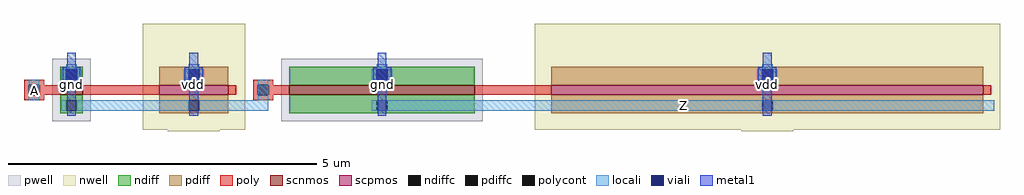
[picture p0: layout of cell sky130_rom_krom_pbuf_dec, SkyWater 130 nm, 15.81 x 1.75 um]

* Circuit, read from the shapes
.subckt sky130_rom_krom_pbuf_dec Z A vdd gnd
XM1 gnd A sky130_rom_krom_pinv_dec_1_0/A VSUBS sky130_fd_pr__nfet_01v8 w=0.36 l=0.15
XM2 gnd sky130_rom_krom_pinv_dec_1_0/A Z VSUBS sky130_fd_pr__nfet_01v8 w=3 l=0.15
XM3 vdd A sky130_rom_krom_pinv_dec_1_0/A n1 sky130_fd_pr__pfet_01v8 w=1.12 l=0.15
XM4 vdd sky130_rom_krom_pinv_dec_1_0/A Z n2 sky130_fd_pr__pfet_01v8 w=7 l=0.15
.ends

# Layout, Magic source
magic
tech sky130A
magscale 1 2
<< locali >>
rect 60 51 94 117
rect 802 51 836 101
rect 742 17 836 51
rect 1171 17 3188 51
<< metal1 >>
rect 184 0 212 204
rect 580 0 608 204
rect 1190 0 1218 204
rect 2438 0 2466 204
use sky130_rom_krom_pinv_dec_0  sky130_rom_krom_pinv_dec_0_0
transform 1 0 0 0 1 0
box 44 -50 760 299
use sky130_rom_krom_pinv_dec_1  sky130_rom_krom_pinv_dec_1_0
transform 1 0 742 0 1 0
box 44 -50 2464 299
<< labels >>
rlabel locali s 2179 34 2179 34 4 Z
port 2 nsew
rlabel locali s 77 84 77 84 4 A
port 3 nsew
rlabel metal1 s 2438 0 2466 204 4 vdd
port 5 nsew
rlabel metal1 s 580 0 608 204 4 vdd
port 5 nsew
rlabel metal1 s 184 0 212 204 4 gnd
port 7 nsew
rlabel metal1 s 1190 0 1218 204 4 gnd
port 7 nsew
<< properties >>
string FIXED_BBOX 0 0 3188 204
<< end >>

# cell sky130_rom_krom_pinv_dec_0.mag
magic
tech sky130A
magscale 1 2
<< nwell >>
rect 428 -45 760 299
rect 510 -50 678 -45
<< pwell >>
rect 136 -17 260 185
<< scnmos >>
rect 162 69 234 99
<< scpmos >>
rect 482 69 706 99
<< ndiff >>
rect 162 151 234 159
rect 162 117 181 151
rect 215 117 234 151
rect 162 99 234 117
rect 162 51 234 69
rect 162 17 181 51
rect 215 17 234 51
rect 162 9 234 17
<< pdiff >>
rect 482 151 706 159
rect 482 117 577 151
rect 611 117 706 151
rect 482 99 706 117
rect 482 51 706 69
rect 482 17 577 51
rect 611 17 706 51
rect 482 9 706 17
<< ndiffc >>
rect 181 117 215 151
rect 181 17 215 51
<< pdiffc >>
rect 577 117 611 151
rect 577 17 611 51
<< poly >>
rect 44 101 110 117
rect 44 67 60 101
rect 94 99 110 101
rect 94 69 162 99
rect 234 69 482 99
rect 706 69 732 99
rect 94 67 110 69
rect 44 51 110 67
<< polycont >>
rect 60 67 94 101
<< locali >>
rect 181 151 215 167
rect 577 151 611 167
rect 165 117 181 151
rect 215 117 231 151
rect 561 117 577 151
rect 611 117 627 151
rect 60 101 94 117
rect 181 101 215 117
rect 577 101 611 117
rect 60 51 94 67
rect 165 17 181 51
rect 215 17 577 51
rect 611 17 742 51
<< viali >>
rect 181 117 215 151
rect 577 117 611 151
<< metal1 >>
rect 184 157 212 204
rect 580 157 608 204
rect 169 151 227 157
rect 169 117 181 151
rect 215 117 227 151
rect 169 111 227 117
rect 565 151 623 157
rect 565 117 577 151
rect 611 117 623 151
rect 565 111 623 117
rect 184 0 212 111
rect 580 0 608 111
<< labels >>
rlabel locali s 77 84 77 84 4 A
port 2 nsew
rlabel locali s 453 34 453 34 4 Z
port 3 nsew
rlabel metal1 s 184 0 212 204 4 gnd
port 5 nsew
rlabel metal1 s 580 0 608 204 4 vdd
port 7 nsew
<< properties >>
string FIXED_BBOX 510 -50 678 -45
<< end >>

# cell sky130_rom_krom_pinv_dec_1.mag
magic
tech sky130A
magscale 1 2
<< nwell >>
rect 956 -45 2464 299
rect 1626 -50 1794 -45
<< pwell >>
rect 136 -17 788 185
<< scnmos >>
rect 162 69 762 99
<< scpmos >>
rect 1010 69 2410 99
<< ndiff >>
rect 162 151 762 159
rect 162 117 445 151
rect 479 117 762 151
rect 162 99 762 117
rect 162 51 762 69
rect 162 17 445 51
rect 479 17 762 51
rect 162 9 762 17
<< pdiff >>
rect 1010 151 2410 159
rect 1010 117 1693 151
rect 1727 117 2410 151
rect 1010 99 2410 117
rect 1010 51 2410 69
rect 1010 17 1693 51
rect 1727 17 2410 51
rect 1010 9 2410 17
<< ndiffc >>
rect 445 117 479 151
rect 445 17 479 51
<< pdiffc >>
rect 1693 117 1727 151
rect 1693 17 1727 51
<< poly >>
rect 44 101 110 117
rect 44 67 60 101
rect 94 99 110 101
rect 94 69 162 99
rect 762 69 1010 99
rect 2410 69 2436 99
rect 94 67 110 69
rect 44 51 110 67
<< polycont >>
rect 60 67 94 101
<< locali >>
rect 445 151 479 167
rect 1693 151 1727 167
rect 429 117 445 151
rect 479 117 495 151
rect 1677 117 1693 151
rect 1727 117 1743 151
rect 60 101 94 117
rect 445 101 479 117
rect 1693 101 1727 117
rect 60 51 94 67
rect 429 17 445 51
rect 479 17 1693 51
rect 1727 17 2446 51
<< viali >>
rect 445 117 479 151
rect 1693 117 1727 151
<< metal1 >>
rect 448 157 476 204
rect 1696 157 1724 204
rect 433 151 491 157
rect 433 117 445 151
rect 479 117 491 151
rect 433 111 491 117
rect 1681 151 1739 157
rect 1681 117 1693 151
rect 1727 117 1739 151
rect 1681 111 1739 117
rect 448 0 476 111
rect 1696 0 1724 111
<< labels >>
rlabel locali s 77 84 77 84 4 A
port 2 nsew
rlabel locali s 1437 34 1437 34 4 Z
port 3 nsew
rlabel metal1 s 448 0 476 204 4 gnd
port 5 nsew
rlabel metal1 s 1696 0 1724 204 4 vdd
port 7 nsew
<< properties >>
string FIXED_BBOX 1626 -50 1794 -45
<< end >>
